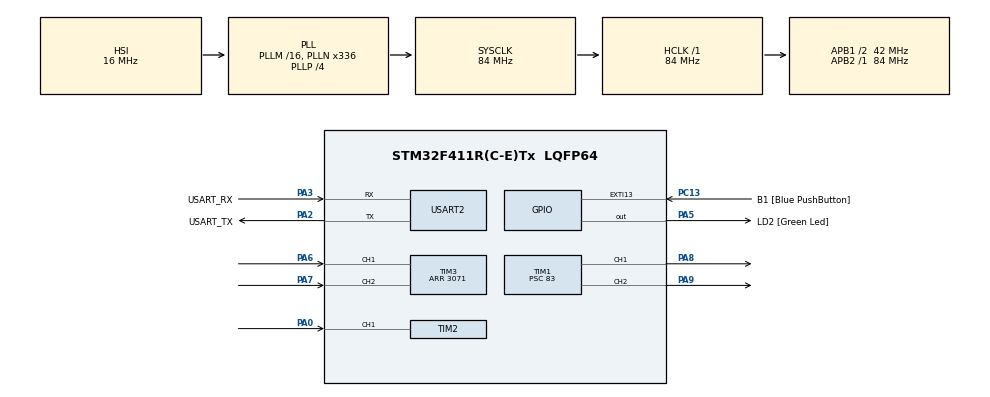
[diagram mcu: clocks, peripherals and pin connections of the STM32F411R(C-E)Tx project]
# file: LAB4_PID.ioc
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Dma.Request0=TIM2_CH1
Dma.TIM2_CH1.0.Direction=DMA_PERIPH_TO_MEMORY
Dma.TIM2_CH1.0.FIFOMode=DMA_FIFOMODE_DISABLE
Dma.TIM2_CH1.0.Instance=DMA1_Stream5
Dma.TIM2_CH1.0.MemDataAlignment=DMA_MDATAALIGN_WORD
Dma.TIM2_CH1.0.MemInc=DMA_MINC_ENABLE
Dma.TIM2_CH1.0.Mode=DMA_CIRCULAR
Dma.TIM2_CH1.0.PeriphDataAlignment=DMA_PDATAALIGN_WORD
Dma.TIM2_CH1.0.PeriphInc=DMA_PINC_DISABLE
Dma.TIM2_CH1.0.Priority=DMA_PRIORITY_LOW
Mcu.Family=STM32F4
Mcu.Name=STM32F411R(C-E)Tx
Mcu.Package=LQFP64
NVIC.DMA1_Stream5_IRQn=true\:0\:0\:false\:false\:true\:false\:true\:true
NVIC.PriorityGroup=NVIC_PRIORITYGROUP_0
PA0-WKUP.Signal=S_TIM2_CH1_ETR
PA13.GPIO_Label=TMS
PA13.Mode=Trace_Asynchronous_SW
PA13.Signal=SYS_JTMS-SWDIO
PA14.GPIO_Label=TCK
PA14.Mode=Trace_Asynchronous_SW
PA14.Signal=SYS_JTCK-SWCLK
PA2.GPIO_Label=USART_TX
PA2.Mode=Asynchronous
PA2.Signal=USART2_TX
PA3.GPIO_Label=USART_RX
PA3.Mode=Asynchronous
PA3.Signal=USART2_RX
PA5.GPIO_Label=LD2 [Green Led]
PA5.Signal=GPIO_Output
PA6.Signal=S_TIM3_CH1
PA7.Signal=S_TIM3_CH2
PA8.Signal=S_TIM1_CH1
PA9.Signal=S_TIM1_CH2
PB3.GPIO_Label=SWO
PB3.Mode=Trace_Asynchronous_SW
PB3.Signal=SYS_JTDO-SWO
PC13-ANTI_TAMP.GPIO_Label=B1 [Blue PushButton]
PC13-ANTI_TAMP.GPIO_ModeDefaultEXTI=GPIO_MODE_IT_FALLING
PC13-ANTI_TAMP.Signal=GPXTI13
PC14-OSC32_IN.Mode=LSE-External-Oscillator
PC14-OSC32_IN.Signal=RCC_OSC32_IN
PC15-OSC32_OUT.Mode=LSE-External-Oscillator
PC15-OSC32_OUT.Signal=RCC_OSC32_OUT
PH0\ -\ OSC_IN.Mode=HSE-External-Clock-Source
PH0\ -\ OSC_IN.Signal=RCC_OSC_IN
PH1\ -\ OSC_OUT.Mode=HSE-External-Clock-Source
PH1\ -\ OSC_OUT.Signal=RCC_OSC_OUT
ProjectManager.HeapSize=0x200
ProjectManager.StackSize=0x400
ProjectManager.TargetToolchain=STM32CubeIDE
RCC.48MHZClocksFreq_Value=84000000
RCC.AHBFreq_Value=84000000
RCC.APB1CLKDivider=RCC_HCLK_DIV2
RCC.APB1Freq_Value=42000000
RCC.APB1TimFreq_Value=84000000
RCC.APB2Freq_Value=84000000
RCC.APB2TimFreq_Value=84000000
RCC.CortexFreq_Value=84000000
RCC.FLatency-AdvancedSettings=FLASH_LATENCY_2
RCC.HCLKFreq_Value=84000000
RCC.HSE_VALUE=8000000
RCC.HSI_VALUE=16000000
RCC.PLLN=336
RCC.PLLP=RCC_PLLP_DIV4
RCC.SYSCLKFreq_VALUE=84000000
RCC.SYSCLKSource=RCC_SYSCLKSOURCE_PLLCLK
RCC.VCOOutputFreq_Value=336000000
SH.S_TIM1_CH1.0=TIM1_CH1,PWM Generation1 CH1
SH.S_TIM1_CH2.0=TIM1_CH2,PWM Generation2 CH2
SH.S_TIM2_CH1_ETR.0=TIM2_CH1,Input_Capture1_from_TI1
SH.S_TIM3_CH1.0=TIM3_CH1,Encoder_Interface
SH.S_TIM3_CH2.0=TIM3_CH2,Encoder_Interface
TIM1.Channel-PWM\ Generation1\ CH1=TIM_CHANNEL_1
TIM1.Channel-PWM\ Generation2\ CH2=TIM_CHANNEL_2
TIM1.OCMode_PWM-PWM\ Generation2\ CH2=TIM_OCMODE_PWM1
TIM1.Period=999
TIM1.Prescaler=83
TIM2.Channel-Input_Capture1_from_TI1=TIM_CHANNEL_1
TIM2.Prescaler=83
TIM3.EncoderMode=TIM_ENCODERMODE_TI12
TIM3.Period=3071
USART2.VirtualMode=VM_ASYNC
VP_TIM1_VS_ClockSourceINT.Mode=Internal
VP_TIM2_VS_ClockSourceINT.Mode=Internal
board=NUCLEO-F411RE

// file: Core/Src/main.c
/* USER CODE BEGIN Header */
/**
  ******************************************************************************
  * @file           : main.c
  * @brief          : Main program body
  ******************************************************************************
  * @attention
  *
  * Copyright (c) 2023 STMicroelectronics.
  * All rights reserved.
  *
  * This software is licensed under terms that can be found in the LICENSE file
  * in the root directory of this software component.
  * If no LICENSE file comes with this software, it is provided AS-IS.
  *
  ******************************************************************************
  */
/* USER CODE END Header */
#include "main.h"

/* USER CODE BEGIN Includes */

#include "arm_math.h"

/* USER CODE END Includes */

TIM_HandleTypeDef htim1;
TIM_HandleTypeDef htim2;
TIM_HandleTypeDef htim3;
DMA_HandleTypeDef hdma_tim2_ch1;

UART_HandleTypeDef huart2;

/* USER CODE BEGIN PV */

uint32_t QEIReadPosition;

float duty = 500;
int reset = 0;

arm_pid_instance_f32 PID = {0};
float BITtoDegree = 0;
float DegreeOfMotor = 0;
float setposition = 0;
float Vfeedback = 0;

typedef struct _QEIStructure
{
	float data[2];
	float QETPosition;
}QEIStructureTypedef;
QEIStructureTypedef QEIData = {0};

/* USER CODE END PV */

void SystemClock_Config(void);
static void MX_GPIO_Init(void);
static void MX_DMA_Init(void);
static void MX_USART2_UART_Init(void);
static void MX_TIM3_Init(void);
static void MX_TIM2_Init(void);
static void MX_TIM1_Init(void);
/* USER CODE BEGIN PFP */

float dutyset(float VIn);
void Drivemotor();
void QEIEncoderPosition();
void PIDcontroller();

/* USER CODE END PFP */

int main(void)
{

  /* MCU Configuration--------------------------------------------------------*/

  /* Reset of all peripherals, Initializes the Flash interface and the Systick. */
  HAL_Init();

  /* Configure the system clock */
  SystemClock_Config();

  /* Initialize all configured peripherals */
  MX_GPIO_Init();
  MX_DMA_Init();
  MX_USART2_UART_Init();
  MX_TIM3_Init();
  MX_TIM2_Init();
  MX_TIM1_Init();
  /* USER CODE BEGIN 2 */

  	  HAL_TIM_Base_Start(&htim1);
  	  HAL_TIM_PWM_Start(&htim1, TIM_CHANNEL_1);

  	  HAL_TIM_Base_Start(&htim1);
  	  HAL_TIM_PWM_Start(&htim1, TIM_CHANNEL_2);

  	  HAL_TIM_Encoder_Start(&htim3, TIM_CHANNEL_1 | TIM_CHANNEL_2);

      PID.Kp = 40.5;
      PID.Ki = 0;
      PID.Kd = 0;
//      PID.Ki = 0.01;
//      //PID.Ki = 0.000000002098;
//      PID.Kd = 0.00988;
  	  arm_pid_init_f32(&PID,reset);

  /* USER CODE END 2 */

  /* Infinite loop */
  while (1)
  {

    /* USER CODE BEGIN 3 */

	  static uint32_t timestamp = 0;
	  if(HAL_GetTick() > timestamp)
	  {
		  timestamp = HAL_GetTick() + 5;
		  QEIEncoderPosition();
		  PIDcontroller();
		  Drivemotor();
	  }
  }
  /* USER CODE END 3 */
}

void SystemClock_Config(void)
{
  RCC_OscInitTypeDef RCC_OscInitStruct = {0};
  RCC_ClkInitTypeDef RCC_ClkInitStruct = {0};

  /** Configure the main internal regulator output voltage
  */
  __HAL_RCC_PWR_CLK_ENABLE();
  __HAL_PWR_VOLTAGESCALING_CONFIG(PWR_REGULATOR_VOLTAGE_SCALE1);

  /** Initializes the RCC Oscillators according to the specified parameters
  * in the RCC_OscInitTypeDef structure.
  */
  RCC_OscInitStruct.OscillatorType = RCC_OSCILLATORTYPE_HSI;
  RCC_OscInitStruct.HSIState = RCC_HSI_ON;
  RCC_OscInitStruct.HSICalibrationValue = RCC_HSICALIBRATION_DEFAULT;
  RCC_OscInitStruct.PLL.PLLState = RCC_PLL_ON;
  RCC_OscInitStruct.PLL.PLLSource = RCC_PLLSOURCE_HSI;
  RCC_OscInitStruct.PLL.PLLM = 16;
  RCC_OscInitStruct.PLL.PLLN = 336;
  RCC_OscInitStruct.PLL.PLLP = RCC_PLLP_DIV4;
  RCC_OscInitStruct.PLL.PLLQ = 4;
  if (HAL_RCC_OscConfig(&RCC_OscInitStruct) != HAL_OK)
  {
    Error_Handler();
  }

  /** Initializes the CPU, AHB and APB buses clocks
  */
  RCC_ClkInitStruct.ClockType = RCC_CLOCKTYPE_HCLK|RCC_CLOCKTYPE_SYSCLK
                              |RCC_CLOCKTYPE_PCLK1|RCC_CLOCKTYPE_PCLK2;
  RCC_ClkInitStruct.SYSCLKSource = RCC_SYSCLKSOURCE_PLLCLK;
  RCC_ClkInitStruct.AHBCLKDivider = RCC_SYSCLK_DIV1;
  RCC_ClkInitStruct.APB1CLKDivider = RCC_HCLK_DIV2;
  RCC_ClkInitStruct.APB2CLKDivider = RCC_HCLK_DIV1;

  if (HAL_RCC_ClockConfig(&RCC_ClkInitStruct, FLASH_LATENCY_2) != HAL_OK)
  {
    Error_Handler();
  }
}

static void MX_TIM1_Init(void)
{

  TIM_ClockConfigTypeDef sClockSourceConfig = {0};
  TIM_MasterConfigTypeDef sMasterConfig = {0};
  TIM_OC_InitTypeDef sConfigOC = {0};
  TIM_BreakDeadTimeConfigTypeDef sBreakDeadTimeConfig = {0};

  htim1.Instance = TIM1;
  htim1.Init.Prescaler = 83;
  htim1.Init.CounterMode = TIM_COUNTERMODE_UP;
  htim1.Init.Period = 999;
  htim1.Init.ClockDivision = TIM_CLOCKDIVISION_DIV1;
  htim1.Init.RepetitionCounter = 0;
  htim1.Init.AutoReloadPreload = TIM_AUTORELOAD_PRELOAD_DISABLE;
  if (HAL_TIM_Base_Init(&htim1) != HAL_OK)
  {
    Error_Handler();
  }
  sClockSourceConfig.ClockSource = TIM_CLOCKSOURCE_INTERNAL;
  if (HAL_TIM_ConfigClockSource(&htim1, &sClockSourceConfig) != HAL_OK)
  {
    Error_Handler();
  }
  if (HAL_TIM_PWM_Init(&htim1) != HAL_OK)
  {
    Error_Handler();
  }
  sMasterConfig.MasterOutputTrigger = TIM_TRGO_RESET;
  sMasterConfig.MasterSlaveMode = TIM_MASTERSLAVEMODE_DISABLE;
  if (HAL_TIMEx_MasterConfigSynchronization(&htim1, &sMasterConfig) != HAL_OK)
  {
    Error_Handler();
  }
  sConfigOC.OCMode = TIM_OCMODE_PWM1;
  sConfigOC.Pulse = 0;
  sConfigOC.OCPolarity = TIM_OCPOLARITY_HIGH;
  sConfigOC.OCNPolarity = TIM_OCNPOLARITY_HIGH;
  sConfigOC.OCFastMode = TIM_OCFAST_DISABLE;
  sConfigOC.OCIdleState = TIM_OCIDLESTATE_RESET;
  sConfigOC.OCNIdleState = TIM_OCNIDLESTATE_RESET;
  if (HAL_TIM_PWM_ConfigChannel(&htim1, &sConfigOC, TIM_CHANNEL_1) != HAL_OK)
  {
    Error_Handler();
  }
  if (HAL_TIM_PWM_ConfigChannel(&htim1, &sConfigOC, TIM_CHANNEL_2) != HAL_OK)
  {
    Error_Handler();
  }
  sBreakDeadTimeConfig.OffStateRunMode = TIM_OSSR_DISABLE;
  sBreakDeadTimeConfig.OffStateIDLEMode = TIM_OSSI_DISABLE;
  sBreakDeadTimeConfig.LockLevel = TIM_LOCKLEVEL_OFF;
  sBreakDeadTimeConfig.DeadTime = 0;
  sBreakDeadTimeConfig.BreakState = TIM_BREAK_DISABLE;
  sBreakDeadTimeConfig.BreakPolarity = TIM_BREAKPOLARITY_HIGH;
  sBreakDeadTimeConfig.AutomaticOutput = TIM_AUTOMATICOUTPUT_DISABLE;
  if (HAL_TIMEx_ConfigBreakDeadTime(&htim1, &sBreakDeadTimeConfig) != HAL_OK)
  {
    Error_Handler();
  }
  HAL_TIM_MspPostInit(&htim1);

}

static void MX_TIM2_Init(void)
{

  TIM_ClockConfigTypeDef sClockSourceConfig = {0};
  TIM_MasterConfigTypeDef sMasterConfig = {0};
  TIM_IC_InitTypeDef sConfigIC = {0};

  htim2.Instance = TIM2;
  htim2.Init.Prescaler = 83;
  htim2.Init.CounterMode = TIM_COUNTERMODE_UP;
  htim2.Init.Period = 4294967295;
  htim2.Init.ClockDivision = TIM_CLOCKDIVISION_DIV1;
  htim2.Init.AutoReloadPreload = TIM_AUTORELOAD_PRELOAD_DISABLE;
  if (HAL_TIM_Base_Init(&htim2) != HAL_OK)
  {
    Error_Handler();
  }
  sClockSourceConfig.ClockSource = TIM_CLOCKSOURCE_INTERNAL;
  if (HAL_TIM_ConfigClockSource(&htim2, &sClockSourceConfig) != HAL_OK)
  {
    Error_Handler();
  }
  if (HAL_TIM_IC_Init(&htim2) != HAL_OK)
  {
    Error_Handler();
  }
  sMasterConfig.MasterOutputTrigger = TIM_TRGO_RESET;
  sMasterConfig.MasterSlaveMode = TIM_MASTERSLAVEMODE_DISABLE;
  if (HAL_TIMEx_MasterConfigSynchronization(&htim2, &sMasterConfig) != HAL_OK)
  {
    Error_Handler();
  }
  sConfigIC.ICPolarity = TIM_INPUTCHANNELPOLARITY_RISING;
  sConfigIC.ICSelection = TIM_ICSELECTION_DIRECTTI;
  sConfigIC.ICPrescaler = TIM_ICPSC_DIV1;
  sConfigIC.ICFilter = 0;
  if (HAL_TIM_IC_ConfigChannel(&htim2, &sConfigIC, TIM_CHANNEL_1) != HAL_OK)
  {
    Error_Handler();
  }

}

static void MX_TIM3_Init(void)
{

  TIM_Encoder_InitTypeDef sConfig = {0};
  TIM_MasterConfigTypeDef sMasterConfig = {0};

  htim3.Instance = TIM3;
  htim3.Init.Prescaler = 0;
  htim3.Init.CounterMode = TIM_COUNTERMODE_UP;
  htim3.Init.Period = 3071;
  htim3.Init.ClockDivision = TIM_CLOCKDIVISION_DIV1;
  htim3.Init.AutoReloadPreload = TIM_AUTORELOAD_PRELOAD_DISABLE;
  sConfig.EncoderMode = TIM_ENCODERMODE_TI12;
  sConfig.IC1Polarity = TIM_ICPOLARITY_RISING;
  sConfig.IC1Selection = TIM_ICSELECTION_DIRECTTI;
  sConfig.IC1Prescaler = TIM_ICPSC_DIV1;
  sConfig.IC1Filter = 0;
  sConfig.IC2Polarity = TIM_ICPOLARITY_RISING;
  sConfig.IC2Selection = TIM_ICSELECTION_DIRECTTI;
  sConfig.IC2Prescaler = TIM_ICPSC_DIV1;
  sConfig.IC2Filter = 0;
  if (HAL_TIM_Encoder_Init(&htim3, &sConfig) != HAL_OK)
  {
    Error_Handler();
  }
  sMasterConfig.MasterOutputTrigger = TIM_TRGO_RESET;
  sMasterConfig.MasterSlaveMode = TIM_MASTERSLAVEMODE_DISABLE;
  if (HAL_TIMEx_MasterConfigSynchronization(&htim3, &sMasterConfig) != HAL_OK)
  {
    Error_Handler();
  }

}

static void MX_USART2_UART_Init(void)
{

  huart2.Instance = USART2;
  huart2.Init.BaudRate = 115200;
  huart2.Init.WordLength = UART_WORDLENGTH_8B;
  huart2.Init.StopBits = UART_STOPBITS_1;
  huart2.Init.Parity = UART_PARITY_NONE;
  huart2.Init.Mode = UART_MODE_TX_RX;
  huart2.Init.HwFlowCtl = UART_HWCONTROL_NONE;
  huart2.Init.OverSampling = UART_OVERSAMPLING_16;
  if (HAL_UART_Init(&huart2) != HAL_OK)
  {
    Error_Handler();
  }

}

static void MX_DMA_Init(void)
{

  /* DMA controller clock enable */
  __HAL_RCC_DMA1_CLK_ENABLE();

  /* DMA interrupt init */
  /* DMA1_Stream5_IRQn interrupt configuration */
  HAL_NVIC_SetPriority(DMA1_Stream5_IRQn, 0, 0);
  HAL_NVIC_EnableIRQ(DMA1_Stream5_IRQn);

}

static void MX_GPIO_Init(void)
{
  GPIO_InitTypeDef GPIO_InitStruct = {0};

  /* GPIO Ports Clock Enable */
  __HAL_RCC_GPIOC_CLK_ENABLE();
  __HAL_RCC_GPIOH_CLK_ENABLE();
  __HAL_RCC_GPIOA_CLK_ENABLE();
  __HAL_RCC_GPIOB_CLK_ENABLE();

  /*Configure GPIO pin Output Level */
  HAL_GPIO_WritePin(LD2_GPIO_Port, LD2_Pin, GPIO_PIN_RESET);

  /*Configure GPIO pin : B1_Pin */
  GPIO_InitStruct.Pin = B1_Pin;
  GPIO_InitStruct.Mode = GPIO_MODE_IT_FALLING;
  GPIO_InitStruct.Pull = GPIO_NOPULL;
  HAL_GPIO_Init(B1_GPIO_Port, &GPIO_InitStruct);

  /*Configure GPIO pin : LD2_Pin */
  GPIO_InitStruct.Pin = LD2_Pin;
  GPIO_InitStruct.Mode = GPIO_MODE_OUTPUT_PP;
  GPIO_InitStruct.Pull = GPIO_NOPULL;
  GPIO_InitStruct.Speed = GPIO_SPEED_FREQ_LOW;
  HAL_GPIO_Init(LD2_GPIO_Port, &GPIO_InitStruct);

}

/* USER CODE BEGIN 4 */

void QEIEncoderPosition()
{
	QEIReadPosition = __HAL_TIM_GET_COUNTER(&htim3);
	BITtoDegree = (QEIReadPosition*360.0)/3072.0;

	//collect data
	QEIData.data[0] = BITtoDegree;

	//calculation
	float diffposition = QEIData.data[0]-QEIData.data[1];

	//handle wrap-around
	if(diffposition > 180)
	{
		diffposition = diffposition - 360.0;
		DegreeOfMotor = DegreeOfMotor + diffposition;
	}
	else if(diffposition< -180)
	{
		diffposition = diffposition + 360.0;
		DegreeOfMotor = DegreeOfMotor + diffposition;
	}
	else
	{
		DegreeOfMotor = DegreeOfMotor + diffposition;
	}
	QEIData.data[1] = QEIData.data[0];
}

void PIDcontroller()
{
	 Vfeedback = arm_pid_f32(&PID,setposition - DegreeOfMotor);

	 if(Vfeedback > 1000) Vfeedback = 1000;
	 else if(Vfeedback < -1000) Vfeedback = -1000;
}

void Drivemotor()
{
	if(Vfeedback >= 0)
	{
		__HAL_TIM_SET_COMPARE(&htim1, TIM_CHANNEL_1,Vfeedback);
		__HAL_TIM_SET_COMPARE(&htim1, TIM_CHANNEL_2,0);
	}
	else if (Vfeedback < 0)
	{
		Vfeedback = Vfeedback*(-1);
		__HAL_TIM_SET_COMPARE(&htim1, TIM_CHANNEL_2,Vfeedback);
		__HAL_TIM_SET_COMPARE(&htim1, TIM_CHANNEL_1,0);
	}

}

/* USER CODE END 4 */

void Error_Handler(void)
{
  __disable_irq();
  while (1)
  {
  }
}
